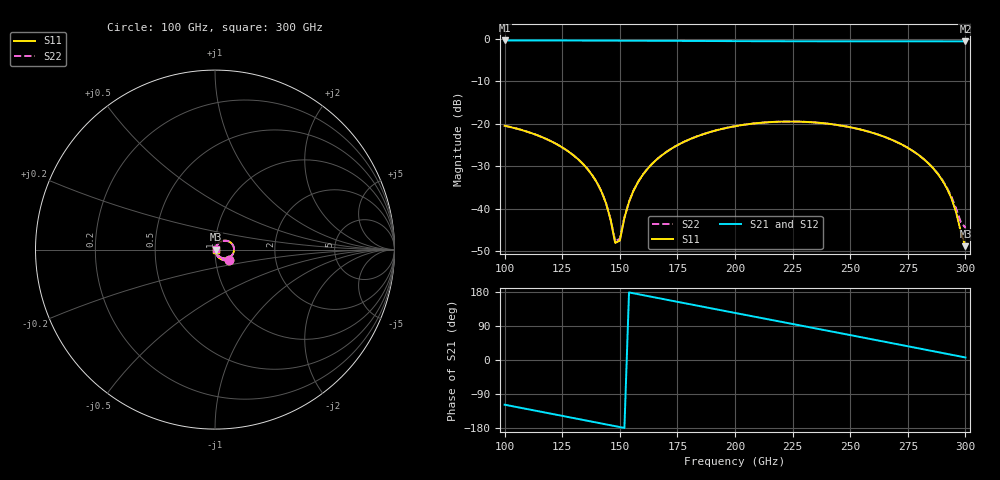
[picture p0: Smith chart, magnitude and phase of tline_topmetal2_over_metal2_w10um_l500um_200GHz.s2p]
#  GHZ S DB R 50
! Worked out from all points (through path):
!   101 points, 100 GHz to 300 GHz, reference 50 ohm
!   highest |S21| = -0.40 dB at 100 GHz (marker M1); lowest = -0.6 dB at 300 GHz (marker M2)
!   group delay of S21, straight-line fit = 3.26 ps
!   lowest |S11| = -48.8 dB at 300 GHz (marker M3), VSWR 1.01, Z = 50.4 + j0.0528 ohm
!   |S11| at or under -10 dB: start of sweep to end of sweep
!   |S22| runs from -47.7 to -19.5 dB; largest |S21 - S12| = 1.1e-14
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100  -20.47 -36.9  -0.40 -118.0  -0.40 -118.0  -20.47 -37.0
120  -24.08 -58.1  -0.41 -141.5  -0.41 -141.5  -24.08 -58.0
134  -29.46 -71.1  -0.42 -158.0  -0.42 -158.0  -29.46 -70.9
142  -35.91 -73.7  -0.43 -167.5  -0.43 -167.5  -35.90 -73.1
146  -42.61 -63.3  -0.44 -172.2  -0.44 -172.2  -42.51 -61.7
148  -48.06 -33.9  -0.44 -174.6  -0.44 -174.6  -47.66 -31.9
150  -47.53 31.5  -0.45 -177.0  -0.45 -177.0  -47.09 29.8
152  -42.16 57.1  -0.45 -179.3  -0.45 -179.3  -42.01 55.4
154  -38.40 64.2  -0.45 178.3  -0.45 178.3  -38.32 62.9
158  -33.66 66.6  -0.46 173.6  -0.46 173.6  -33.63 65.8
168  -27.53 60.1  -0.48 161.8  -0.48 161.8  -27.51 59.5
182  -23.29 46.0  -0.51 145.3  -0.51 145.3  -23.28 45.6
200  -20.59 26.5  -0.55 124.3  -0.55 124.3  -20.58 26.2
218  -19.55 6.7  -0.58 103.2  -0.58 103.2  -19.54 6.5
234  -19.68 -11.1  -0.59 84.5  -0.59 84.5  -19.68 -11.2
250  -20.82 -28.8  -0.60 65.8  -0.60 65.8  -20.83 -28.7
268  -23.76 -48.3  -0.60 44.6  -0.60 44.6  -23.77 -47.5
280  -27.48 -60.3  -0.60 30.4  -0.60 30.4  -27.48 -58.4
290  -33.33 -67.0  -0.61 18.5  -0.61 18.5  -33.23 -62.1
294  -37.63 -65.3  -0.61 13.8  -0.61 13.8  -37.27 -56.9
298  -45.44 -43.4  -0.62 9.1  -0.62 9.1  -43.15 -28.7
300  -48.82 8.3  -0.62 6.7  -0.62 6.7  -44.49 7.4
